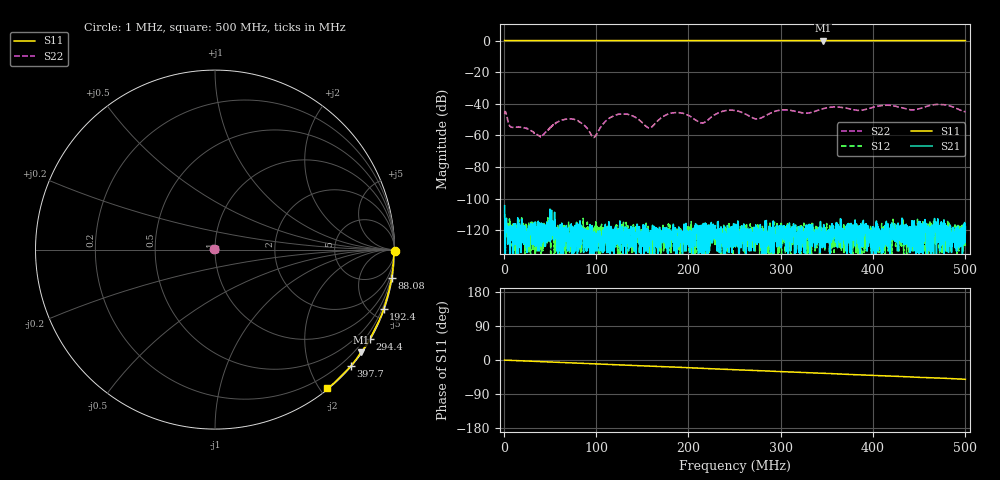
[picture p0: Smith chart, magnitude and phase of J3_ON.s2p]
! MS46122B
! 1746301/73750021
! 8/7/2023 2:53:22 PM
! C:\USERS\SPEGWAL\DOWNLOADS\SAURABH\REACH\NODES\FRONT END\MEASUREMENTS\MEASURED S-PARAMETER_07-08-2023\MS-3\P2_J4\J3_ON.S2P
! CHANNEL.1
! TR.MEASUREMENT
! CORRECTED.DATA
# GHZ S RI R 50.0
! FREQ.GHZ  S11RE  S11IM  S21RE  S21IM  S12RE  S12IM  S22RE  S22IM
!; PortSelection: Port_12
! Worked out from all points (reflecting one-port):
!   2001 points, 1 MHz to 500 MHz, reference 50 ohm
!   lowest |S11| = 0.0 dB at 345.8 MHz (marker M1), VSWR 347.91, Z = 1.58 - j158 ohm
!   phase of S11 starts at -0 deg and turns -50 deg over the sweep
!   S11 on the Smith chart (normalised r, x): 1 MHz: open; 88.08 MHz: 0, -13; 192.4 MHz: 0.06, -5.82; 294.4 MHz: 0.02, -3.73; 397.7 MHz: 0.01, -2.71; 500 MHz: 0.01, -2.10
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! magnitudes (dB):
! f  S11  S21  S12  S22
! 1 MHz  0.0  -104.4  -109.7  -46.3
! 8.236 MHz  0.0  -119.3  -117.7  -54.7
! 39.42 MHz  0.0  -121.9  -122.8  -60.2
! 63.87 MHz  0.0  -128.0  -125.9  -50.1
! 84.33 MHz  0.0  -119.3  -133.0  -52.2
! 88.08 MHz  0.0  -127.0  -120.0  -54.1
! 97.56 MHz  0.0  -124.7  -121.4  -61.3
! 123.3 MHz  0.0  -121.3  -128.9  -46.8
! 139.2 MHz  0.0  -127.4  -117.4  -47.6
! 157.2 MHz  0.0  -126.0  -121.9  -55.3
! 167.4 MHz  0.0  -133.0  -119.0  -50.4
! 192.4 MHz  0.0  -128.0  -130.5  -45.8
! 215.1 MHz  0.0  -121.7  -131.0  -52.2
! 250.5 MHz  0.0  -124.0  -128.0  -44.2
! 274.2 MHz  0.0  -128.0  -124.0  -49.6
! 294.4 MHz  0.0  -124.7  -124.3  -44.6
! 333.8 MHz  0.0  -120.1  -115.5  -45.4
! 345.8 MHz  0.0  -123.0  -125.9  -43.1
! 397.7 MHz  0.0  -120.0  -120.5  -42.6
! 416.9 MHz  0.0  -118.4  -121.9  -40.9
! 475.3 MHz  0.0  -116.9  -133.0  -40.4
! 500 MHz  0.0  -117.9  -120.1  -45.0
